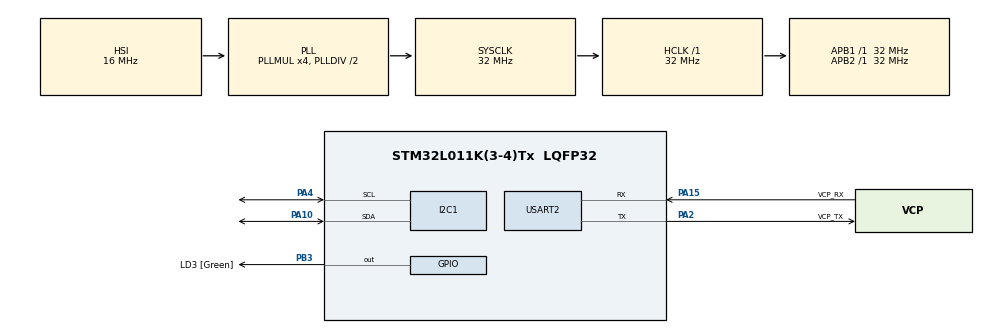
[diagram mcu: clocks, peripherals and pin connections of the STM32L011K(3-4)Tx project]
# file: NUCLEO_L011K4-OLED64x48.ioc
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I2C1.I2C_Fall_Time=0
I2C1.I2C_Rise_Time=0
I2C1.Timing=0x00707CBB
Mcu.Family=STM32L0
Mcu.Name=STM32L011K(3-4)Tx
Mcu.Package=LQFP32
PA10.Mode=I2C
PA10.Signal=I2C1_SDA
PA13.GPIO_Label=TMS
PA13.Mode=Serial_Wire
PA13.Signal=SYS_SWDIO
PA14.GPIO_Label=TCK
PA14.Mode=Serial_Wire
PA14.Signal=SYS_SWCLK
PA15.GPIO_Label=VCP_RX
PA15.Mode=Asynchronous
PA15.Signal=USART2_RX
PA2.GPIO_Label=VCP_TX
PA2.Mode=Asynchronous
PA2.Signal=USART2_TX
PA4.Mode=I2C
PA4.Signal=I2C1_SCL
PB3.GPIO_Label=LD3 [Green]
PB3.Signal=GPIO_Output
PC14-OSC32_IN.Mode=LSE-External-Oscillator
PC14-OSC32_IN.Signal=RCC_OSC32_IN
PC15-OSC32_OUT.Mode=LSE-External-Oscillator
PC15-OSC32_OUT.Signal=RCC_OSC32_OUT
ProjectManager.HeapSize=0x100
ProjectManager.StackSize=0x400
ProjectManager.TargetToolchain=STM32CubeIDE
RCC.AHBFreq_Value=32000000
RCC.APB1Freq_Value=32000000
RCC.APB1TimFreq_Value=32000000
RCC.APB2Freq_Value=32000000
RCC.APB2TimFreq_Value=32000000
RCC.HCLKFreq_Value=32000000
RCC.HSE_VALUE=8000000
RCC.HSI16_VALUE=16000000
RCC.HSI48_VALUE=48000000
RCC.HSI_VALUE=16000000
RCC.MSI_VALUE=2097000
RCC.PLLMUL=RCC_PLLMUL_4
RCC.SYSCLKFreq_VALUE=32000000
RCC.SYSCLKSource=RCC_SYSCLKSOURCE_PLLCLK
RCC.VCOOutputFreq_Value=64000000
USART2.VirtualMode-Asynchronous=VM_ASYNC
board=NUCLEO-L011K4

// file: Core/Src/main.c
/* USER CODE BEGIN Header */
/**
  ******************************************************************************
  * @file           : main.c
  * @brief          : Main program body
  ******************************************************************************
  * @attention
  *
  * Copyright (c) 2026 STMicroelectronics.
  * All rights reserved.
  *
  * This software is licensed under terms that can be found in the LICENSE file
  * in the root directory of this software component.
  * If no LICENSE file comes with this software, it is provided AS-IS.
  *
  ******************************************************************************
  */
/* USER CODE END Header */
#include "main.h"

/* USER CODE BEGIN Includes */
#include "GLCD_driver.h"
/* USER CODE END Includes */

I2C_HandleTypeDef hi2c1;

UART_HandleTypeDef huart2;

/* USER CODE BEGIN PV */
extern const unsigned char Sans_Serif[];
extern const unsigned char Icons[];
extern const unsigned char picture1[];
/* USER CODE END PV */

void SystemClock_Config(void);
static void MX_GPIO_Init(void);
static void MX_I2C1_Init(void);
static void MX_USART2_UART_Init(void);

int main(void)
{

  /* MCU Configuration--------------------------------------------------------*/

  /* Reset of all peripherals, Initializes the Flash interface and the Systick. */
  HAL_Init();

  /* Configure the system clock */
  SystemClock_Config();

  /* Initialize all configured peripherals */
  MX_GPIO_Init();
  MX_I2C1_Init();
  MX_USART2_UART_Init();
  /* USER CODE BEGIN 2 */
  LCD_OLED_Init();
  LCD_OLED_Clear_screen();
  /* USER CODE END 2 */

  /* Infinite loop */
  /* USER CODE BEGIN WHILE */
  while (1)
  {

	  LCD_OLED_Clear_screen();
	  HAL_Delay(1000);

	  LCD_OLED_Set_font( (unsigned char *)  Icons, 9,  16);			//FONTE DE ICONES

	  LCD_OLED_escreve_texto( 0, 2, (unsigned char *) " " );
	  HAL_Delay(200);
	  LCD_OLED_escreve_texto( 0, 13, (unsigned char *) "!" );
	  HAL_Delay(200);

	  LCD_OLED_escreve_texto( 0, 27, (unsigned char *) "\"" );	//Usar \ (barra invertida)
	  HAL_Delay(200);

	  LCD_OLED_escreve_texto( 0, 43, (unsigned char *) "#" );
	  HAL_Delay(200);
	  LCD_OLED_escreve_texto( 16, 3, (unsigned char *) "$" );
	  HAL_Delay(200);
	  LCD_OLED_escreve_texto( 16, 21, (unsigned char *) "%" );
	  HAL_Delay(200);
	  LCD_OLED_escreve_texto( 16, 40, (unsigned char *) "&" );
	  HAL_Delay(200);
	  LCD_OLED_escreve_texto( 32, 3, (unsigned char *) "'" );
	  HAL_Delay(200);
	  LCD_OLED_escreve_texto( 32, 21, (unsigned char *) "(" );
	  HAL_Delay(200);
	  LCD_OLED_escreve_texto( 32, 39, (unsigned char *) ")" );
	  HAL_Delay(200);
	  LCD_OLED_escreve_texto( 32, 49, (unsigned char *) "*" );
	  HAL_Delay(2000);

	  LCD_OLED_Clear_screen();
	  LCD_OLED_show_pic(&picture1[0]);
	  HAL_Delay(2000);

	  LCD_OLED_Clear_screen();
	  LCD_OLED_Set_font( (unsigned char *)  Sans_Serif, 15,  18);
	  LCD_OLED_escreve_texto( 4, 13, (unsigned char *) "KMX" );	//Sans Serif
	  LCD_OLED_escreve_texto( 25, 9, (unsigned char *) "ENG" );

	  HAL_Delay(1500);
	  LCD_OLED_Flip();
    /* USER CODE END WHILE */

  }
}

void SystemClock_Config(void)
{
  RCC_OscInitTypeDef RCC_OscInitStruct = {0};
  RCC_ClkInitTypeDef RCC_ClkInitStruct = {0};
  RCC_PeriphCLKInitTypeDef PeriphClkInit = {0};

  /** Configure the main internal regulator output voltage
  */
  __HAL_PWR_VOLTAGESCALING_CONFIG(PWR_REGULATOR_VOLTAGE_SCALE1);

  /** Initializes the RCC Oscillators according to the specified parameters
  * in the RCC_OscInitTypeDef structure.
  */
  RCC_OscInitStruct.OscillatorType = RCC_OSCILLATORTYPE_HSI;
  RCC_OscInitStruct.HSIState = RCC_HSI_ON;
  RCC_OscInitStruct.HSICalibrationValue = RCC_HSICALIBRATION_DEFAULT;
  RCC_OscInitStruct.PLL.PLLState = RCC_PLL_ON;
  RCC_OscInitStruct.PLL.PLLSource = RCC_PLLSOURCE_HSI;
  RCC_OscInitStruct.PLL.PLLMUL = RCC_PLLMUL_4;
  RCC_OscInitStruct.PLL.PLLDIV = RCC_PLLDIV_2;
  if (HAL_RCC_OscConfig(&RCC_OscInitStruct) != HAL_OK)
  {
    Error_Handler();
  }

  /** Initializes the CPU, AHB and APB buses clocks
  */
  RCC_ClkInitStruct.ClockType = RCC_CLOCKTYPE_HCLK|RCC_CLOCKTYPE_SYSCLK
                              |RCC_CLOCKTYPE_PCLK1|RCC_CLOCKTYPE_PCLK2;
  RCC_ClkInitStruct.SYSCLKSource = RCC_SYSCLKSOURCE_PLLCLK;
  RCC_ClkInitStruct.AHBCLKDivider = RCC_SYSCLK_DIV1;
  RCC_ClkInitStruct.APB1CLKDivider = RCC_HCLK_DIV1;
  RCC_ClkInitStruct.APB2CLKDivider = RCC_HCLK_DIV1;

  if (HAL_RCC_ClockConfig(&RCC_ClkInitStruct, FLASH_LATENCY_1) != HAL_OK)
  {
    Error_Handler();
  }
  PeriphClkInit.PeriphClockSelection = RCC_PERIPHCLK_USART2|RCC_PERIPHCLK_I2C1;
  PeriphClkInit.Usart2ClockSelection = RCC_USART2CLKSOURCE_PCLK1;
  PeriphClkInit.I2c1ClockSelection = RCC_I2C1CLKSOURCE_PCLK1;
  if (HAL_RCCEx_PeriphCLKConfig(&PeriphClkInit) != HAL_OK)
  {
    Error_Handler();
  }
}

static void MX_I2C1_Init(void)
{

  hi2c1.Instance = I2C1;
  hi2c1.Init.Timing = 0x00707CBB;
  hi2c1.Init.OwnAddress1 = 0;
  hi2c1.Init.AddressingMode = I2C_ADDRESSINGMODE_7BIT;
  hi2c1.Init.DualAddressMode = I2C_DUALADDRESS_DISABLE;
  hi2c1.Init.OwnAddress2 = 0;
  hi2c1.Init.OwnAddress2Masks = I2C_OA2_NOMASK;
  hi2c1.Init.GeneralCallMode = I2C_GENERALCALL_DISABLE;
  hi2c1.Init.NoStretchMode = I2C_NOSTRETCH_DISABLE;
  if (HAL_I2C_Init(&hi2c1) != HAL_OK)
  {
    Error_Handler();
  }

  /** Configure Analogue filter
  */
  if (HAL_I2CEx_ConfigAnalogFilter(&hi2c1, I2C_ANALOGFILTER_ENABLE) != HAL_OK)
  {
    Error_Handler();
  }

  /** Configure Digital filter
  */
  if (HAL_I2CEx_ConfigDigitalFilter(&hi2c1, 0) != HAL_OK)
  {
    Error_Handler();
  }

}

static void MX_USART2_UART_Init(void)
{

  huart2.Instance = USART2;
  huart2.Init.BaudRate = 115200;
  huart2.Init.WordLength = UART_WORDLENGTH_8B;
  huart2.Init.StopBits = UART_STOPBITS_1;
  huart2.Init.Parity = UART_PARITY_NONE;
  huart2.Init.Mode = UART_MODE_TX_RX;
  huart2.Init.HwFlowCtl = UART_HWCONTROL_NONE;
  huart2.Init.OverSampling = UART_OVERSAMPLING_16;
  huart2.Init.OneBitSampling = UART_ONE_BIT_SAMPLE_DISABLE;
  huart2.AdvancedInit.AdvFeatureInit = UART_ADVFEATURE_NO_INIT;
  if (HAL_UART_Init(&huart2) != HAL_OK)
  {
    Error_Handler();
  }

}

static void MX_GPIO_Init(void)
{
  GPIO_InitTypeDef GPIO_InitStruct = {0};

  /* GPIO Ports Clock Enable */
  __HAL_RCC_GPIOC_CLK_ENABLE();
  __HAL_RCC_GPIOA_CLK_ENABLE();
  __HAL_RCC_GPIOB_CLK_ENABLE();

  /*Configure GPIO pin Output Level */
  HAL_GPIO_WritePin(LD3_GPIO_Port, LD3_Pin, GPIO_PIN_RESET);

  /*Configure GPIO pin : LD3_Pin */
  GPIO_InitStruct.Pin = LD3_Pin;
  GPIO_InitStruct.Mode = GPIO_MODE_OUTPUT_PP;
  GPIO_InitStruct.Pull = GPIO_NOPULL;
  GPIO_InitStruct.Speed = GPIO_SPEED_FREQ_LOW;
  HAL_GPIO_Init(LD3_GPIO_Port, &GPIO_InitStruct);

}

void Error_Handler(void)
{
  __disable_irq();
  while (1)
  {
  }
}
